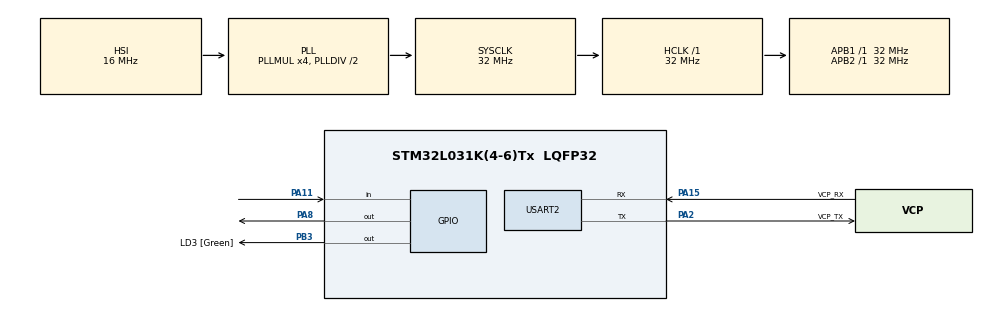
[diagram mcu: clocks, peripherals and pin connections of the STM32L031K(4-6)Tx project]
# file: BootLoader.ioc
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CRC.InputDataFormat=CRC_INPUTDATA_FORMAT_BYTES
Mcu.Family=STM32L0
Mcu.Name=STM32L031K(4-6)Tx
Mcu.Package=LQFP32
PA11.Signal=GPIO_Input
PA13.GPIO_Label=TMS
PA13.Mode=Serial_Wire
PA13.Signal=SYS_SWDIO
PA14.GPIO_Label=TCK
PA14.Mode=Serial_Wire
PA14.Signal=SYS_SWCLK
PA15.GPIO_Label=VCP_RX
PA15.Mode=Asynchronous
PA15.Signal=USART2_RX
PA2.GPIO_Label=VCP_TX
PA2.Mode=Asynchronous
PA2.Signal=USART2_TX
PA8.Signal=GPIO_Output
PB3.GPIO_Label=LD3 [Green]
PB3.Signal=GPIO_Output
PC14-OSC32_IN.Mode=LSE-External-Oscillator
PC14-OSC32_IN.Signal=RCC_OSC32_IN
PC15-OSC32_OUT.Mode=LSE-External-Oscillator
PC15-OSC32_OUT.Signal=RCC_OSC32_OUT
ProjectManager.HeapSize=0x200
ProjectManager.StackSize=0x400
ProjectManager.TargetToolchain=STM32CubeIDE
RCC.ADCFreq_Value=16000000
RCC.AHBFreq_Value=32000000
RCC.APB1Freq_Value=32000000
RCC.APB1TimFreq_Value=32000000
RCC.APB2Freq_Value=32000000
RCC.APB2TimFreq_Value=32000000
RCC.HCLKFreq_Value=32000000
RCC.HSE_VALUE=8000000
RCC.HSI16_VALUE=16000000
RCC.HSI48_VALUE=48000000
RCC.HSI_VALUE=16000000
RCC.MSI_VALUE=2097000
RCC.PLLMUL=RCC_PLLMUL_4
RCC.SYSCLKFreq_VALUE=32000000
RCC.SYSCLKSource=RCC_SYSCLKSOURCE_PLLCLK
RCC.VCOOutputFreq_Value=64000000
USART2.VirtualMode-Asynchronous=VM_ASYNC
VP_CRC_VS_CRC.Mode=CRC_Activate
board=NUCLEO-L031K6

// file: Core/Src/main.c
/* USER CODE BEGIN Header */
/**
  ******************************************************************************
  * @file           : main.c
  * @brief          : Main program body
  ******************************************************************************
  * @attention
  *
  * <h2><center>&copy; Copyright (c) 2020 STMicroelectronics.
  * All rights reserved.</center></h2>
  *
  * This software component is licensed by ST under BSD 3-Clause license,
  * the "License"; You may not use this file except in compliance with the
  * License. You may obtain a copy of the License at:
  *                        opensource.org/licenses/BSD-3-Clause
  *
  ******************************************************************************
  */
/* USER CODE END Header */

#include "main.h"
#include "crc.h"
#include "usart.h"
#include "gpio.h"

void SystemClock_Config(void);

/* USER CODE BEGIN 0 */

/* This Macro will mask last 4 bytes of the buffer(which is CRC)  */
#define MASK_CRC_BYTES(buf,len_of_buf) ((buf[len_of_buf-1]<<24)| \
						   (buf[len_of_buf-2]<<16)| \
						   (buf[len_of_buf-3]<<8)|  \
						   (buf[len_of_buf-4]))

/* This Macro will byte1 and byte2 in the buffer
 * which is length. byte0 is the command */
#define MASK_LEN_BYTES(buf) ((buf[2]<<8)| \
		   	   	   	   	   	 (buf[1]))

#define FLASH_APPL_START_ADDR 		0x08004000U
#define FLASH_APPL_PAGES			128   // each page is 128bytes

/* Commands Received from the SerialPort */
#define BL_GET_VER 			0xB1
#define BL_GET_CID 			0xB2
#define BL_ERASE_FLASH 		0xB3
#define BL_FLASH_APPL		0xB4
#define BL_INTEG_CHECK		0xB5
#define BL_JUMP_APPL		0xB6
#define	BL_TEST				0xB7

/* Each Command is followed by some other messages after acknowledgment
 * So with the command itself we receive the length. We will wait for this
 * length number of bytes from UART now */
#define BL_GET_VER_LEN 				5
#define BL_GET_CID_LEN 				5
#define BL_ERASE_FLASH_LEN 		 	5
#define BL_TEST_LEN					5
#define BL_RX_PACK_INFO_LEN			7

/* Acknowledgment sent back after executing commands */
#define BL_ACK				0xA5
#define BL_NACK 			0xA6
#define BL_ERASE_FLASH_SUCCESS		0xC1
#define BL_ERASE_FLASH_FAILURE		0xC2

/* Size of Each Binary packet shall be defined here and same in the sender
 * python script. Used to flash application */
#define BL_RX_BIN_PKT_SIZE			260

/* Standard definitions */
#define TRUE 				1
#define FALSE 				0

/* Global Variable Decleration*/
GPIO_PinState Jump_App = GPIO_PIN_RESET;	/* Jump to application when pin is set. read the code to understand */
HAL_StatusTypeDef status;					/* Status to return */
uint8_t uart_databuf[30];					/* Buffer for UART to receive data */
uint32_t received_crc 	= 0;				/* Holds Masked CRC */
uint32_t calculated_crc = 0;				/* Holds CRC calculated from internal CRC engine*/

/* Function Declerations*/
void Bootloader_jump_to_app(void);
void bootloader_uart_read_data(void);
uint8_t bootloader_verify_crc(uint8_t * uart_databuf, uint32_t length);
void bootloader_getcid(void);
void bootloader_getver(uint8_t * uart_databuf);
void bootloader_erase_appl_flash(uint8_t * uart_databuf);
void bootloader_flash_appl(uint8_t * uart_databuf);

/* USER CODE END 0 */

int main(void)
{

  /* MCU Configuration--------------------------------------------------------*/

  /* Reset of all peripherals, Initializes the Flash interface and the Systick. */
  HAL_Init();

  /* Configure the system clock */
  SystemClock_Config();

  /* Initialize all configured peripherals */
  MX_GPIO_Init();
  MX_USART2_UART_Init();
  MX_CRC_Init();
  /* USER CODE BEGIN 2 */
  HAL_GPIO_WritePin(GPIOA, GPIO_PIN_8, GPIO_PIN_SET); /* First we set the pin to high and check if still pin is high*/
  /* USER CODE END 2 */

  /* Infinite loop */
  while (1)
 {
	  Jump_App = HAL_GPIO_ReadPin(GPIOA, GPIO_PIN_11);
	  if(GPIO_PIN_SET == Jump_App)
	  {
		  /* to exit boot loader and jump to application GPIO_PIN_11 shall be connected to ground*/
		  Bootloader_jump_to_app();
		  break; /* application will never return here */
	  }
	  else
	  {
		  /* User Explicitly requested to stay in boot loader
		   * Just print and wait for command*/
		  HAL_UART_Transmit(&huart2, (uint8_t *)"In BootLoader\r\n", 15 , 300);
		  while(1){
		  	bootloader_uart_read_data();
		  }
	  }
 }
}

void SystemClock_Config(void)
{
  RCC_OscInitTypeDef RCC_OscInitStruct = {0};
  RCC_ClkInitTypeDef RCC_ClkInitStruct = {0};
  RCC_PeriphCLKInitTypeDef PeriphClkInit = {0};

  /** Configure the main internal regulator output voltage
  */
  __HAL_PWR_VOLTAGESCALING_CONFIG(PWR_REGULATOR_VOLTAGE_SCALE1);
  /** Initializes the CPU, AHB and APB busses clocks
  */
  RCC_OscInitStruct.OscillatorType = RCC_OSCILLATORTYPE_HSI;
  RCC_OscInitStruct.HSIState = RCC_HSI_ON;
  RCC_OscInitStruct.HSICalibrationValue = RCC_HSICALIBRATION_DEFAULT;
  RCC_OscInitStruct.PLL.PLLState = RCC_PLL_ON;
  RCC_OscInitStruct.PLL.PLLSource = RCC_PLLSOURCE_HSI;
  RCC_OscInitStruct.PLL.PLLMUL = RCC_PLLMUL_4;
  RCC_OscInitStruct.PLL.PLLDIV = RCC_PLLDIV_2;
  if (HAL_RCC_OscConfig(&RCC_OscInitStruct) != HAL_OK)
  {
    Error_Handler();
  }
  /** Initializes the CPU, AHB and APB busses clocks
  */
  RCC_ClkInitStruct.ClockType = RCC_CLOCKTYPE_HCLK|RCC_CLOCKTYPE_SYSCLK
                              |RCC_CLOCKTYPE_PCLK1|RCC_CLOCKTYPE_PCLK2;
  RCC_ClkInitStruct.SYSCLKSource = RCC_SYSCLKSOURCE_PLLCLK;
  RCC_ClkInitStruct.AHBCLKDivider = RCC_SYSCLK_DIV1;
  RCC_ClkInitStruct.APB1CLKDivider = RCC_HCLK_DIV1;
  RCC_ClkInitStruct.APB2CLKDivider = RCC_HCLK_DIV1;

  if (HAL_RCC_ClockConfig(&RCC_ClkInitStruct, FLASH_LATENCY_1) != HAL_OK)
  {
    Error_Handler();
  }
  PeriphClkInit.PeriphClockSelection = RCC_PERIPHCLK_USART2;
  PeriphClkInit.Usart2ClockSelection = RCC_USART2CLKSOURCE_PCLK1;
  if (HAL_RCCEx_PeriphCLKConfig(&PeriphClkInit) != HAL_OK)
  {
    Error_Handler();
  }
}

/* USER CODE BEGIN 4 */
void Bootloader_jump_to_app(void)
{
	uint32_t msp_value = *(uint32_t *) FLASH_APPL_START_ADDR ;
	//uint32_t reset_handler_addr = *(volatile uint32_t *) 0x08004004U ;
	void (*app_reset_handler)(void) = (void *) (*(volatile uint32_t *) (FLASH_APPL_START_ADDR + 4 ));

	HAL_UART_Transmit(&huart2, (uint8_t *)"Exiting BootLoader\r\n", 20 , 300);
	__set_MSP(msp_value);
	app_reset_handler();
}

/*  BRIEF\
 *  This Function reads data from UART and checks the command.
 *  Calls the respective interface to process accordingly
 *
 *	CALL FREQUENCY\
 *	Called in a while Loop
 *
 *	TODO
 *	BL_INTEG_CHECK has to be implemented
 *
 */
void bootloader_uart_read_data(void)
{
	uint8_t command  = 0;
	status = HAL_UART_Receive(&huart2,(uint8_t*) uart_databuf, 5, 5000);
	if (status == HAL_OK)
	{
		command = uart_databuf[0];
		switch(command)
		{
		case BL_GET_VER:
			bootloader_getver(uart_databuf);
			break;
		case BL_GET_CID:
			bootloader_getcid();
			break;
		case BL_ERASE_FLASH:
			bootloader_erase_appl_flash(uart_databuf);
			break;
		case BL_FLASH_APPL:
			bootloader_flash_appl(uart_databuf);
			break;
		case BL_JUMP_APPL:
			Bootloader_jump_to_app();
			break;
		default:
			HAL_UART_Transmit(&huart2,(uint8_t *) "Invalid Command\r\n", 17, HAL_MAX_DELAY);
		}
	}
	else
	{
		/* Do Nothing */
	}
}

/*  BRIEF\
 *  This Function is called when there is a request to flash the application
 *  process ->  send ACK if CRC is valid
 *          ->  Mask the length -  Number of upcoming packets in this connection
 *          ->  Unlock the flash memory first -  else we cannot write to pflash
 *          ->  Loop for masked length times and do the below
 *              ->  Receive Packet size
 *              ->  wait for the received size number of bytes from uart.
 *              ->  After the packet is received and CRC found valid
 *              	-> write the bytes to memory and return ACK
 *              ->  If data not received or CRC error return NACK
 *
 *
 *	CALL FREQUENCY\
 *	Called once BL_FLASH_APPL command is received
 *
 *	TODO
 *	Once the wrong CRC is received in b/w the communication then WHAT???
 *
 */
void bootloader_flash_appl(uint8_t * uart_databuf)
{
	uint8_t ack = BL_NACK;
	uint8_t bl_bin_pkt[260] = {0};
	uint32_t *flash_addr_appl_end=(uint32_t *)FLASH_APPL_START_ADDR;
	uint32_t opcode = 0;
	uint16_t app_max_num_pkts = 0;
	uint16_t app_current_pkt_len = 0;
	if(  bootloader_verify_crc(uart_databuf, BL_GET_VER_LEN)  )
	{
		ack = BL_ACK;
		HAL_UART_Transmit(&huart2,(uint8_t *) &ack, 1, 300);
		status = HAL_UART_Receive(&huart2,(uint8_t*) uart_databuf, BL_RX_PACK_INFO_LEN, HAL_MAX_DELAY);
		if(  bootloader_verify_crc(uart_databuf, BL_RX_PACK_INFO_LEN)  )
		{
			ack = BL_ACK;
			HAL_UART_Transmit(&huart2,(uint8_t *) &ack, 1, 300);
			app_max_num_pkts = MASK_LEN_BYTES(uart_databuf);
			HAL_GPIO_TogglePin(GPIOB, GPIO_PIN_3);
			HAL_FLASH_Unlock();
			for (uint16_t pkt_num = 0; pkt_num < app_max_num_pkts; pkt_num++)
			{
				status = HAL_UART_Receive(&huart2,(uint8_t*) uart_databuf, BL_RX_PACK_INFO_LEN, HAL_MAX_DELAY);
				if(  bootloader_verify_crc(uart_databuf, BL_RX_PACK_INFO_LEN)  )
				{
					ack = BL_ACK;
					HAL_UART_Transmit(&huart2,(uint8_t *) &ack, 1, 300);

					app_current_pkt_len = MASK_LEN_BYTES(uart_databuf);
					status = HAL_UART_Receive(&huart2,(uint8_t*) bl_bin_pkt, app_current_pkt_len, HAL_MAX_DELAY);
					if(  bootloader_verify_crc(bl_bin_pkt, app_current_pkt_len)  )
					{

						for (int i = 0; i < BL_RX_BIN_PKT_SIZE - 4; i+=4)
						{
							opcode = (bl_bin_pkt[i+3] << 24) | (bl_bin_pkt[i+2] << 16) | (bl_bin_pkt[i+1] << 8) | (bl_bin_pkt[i]);
							*flash_addr_appl_end = opcode;
							flash_addr_appl_end++;
						}

						ack = BL_ACK;
						HAL_UART_Transmit(&huart2,(uint8_t *) &ack, 1, 300);
					}
					else
					{
						ack = BL_NACK;
						HAL_UART_Transmit(&huart2,(uint8_t *) &ack, 1, 300);
					}
				}
				else
				{
					ack = BL_NACK;
					HAL_UART_Transmit(&huart2,(uint8_t *) &ack, 1, 300);
				}
			}
			HAL_GPIO_TogglePin(GPIOB, GPIO_PIN_3);
			HAL_FLASH_Lock();
		}
		else
		{
			/* Invalid CRC received for LEngth */
			ack = BL_NACK;
			HAL_UART_Transmit(&huart2,(uint8_t *) &ack, 1, 300);
		}
	}
	else
	{
		/* Invalid CRC received for the command */
		ack = BL_NACK;
		HAL_UART_Transmit(&huart2, &ack, 1, HAL_MAX_DELAY);
	}
}

/*  BRIEF\
 *  This Function erases the flash
 *  from FLASH_APPL_START_ADDR
 *  up to FLASH_APPL_PAGES
 *
 *
 *	CALL FREQUENCY\
 *	Called once BL_ERASE_FLASH command is received
 *
 *	TODO
 *	1. Configuration of page erase and size shall be taken through parameters
 *	2. HAL_MAX_DELAY is used while transmission
 *
 */
void bootloader_erase_appl_flash(uint8_t * uart_databuf)
{
	uint8_t ack = BL_NACK;
	uint8_t sts = BL_ERASE_FLASH_FAILURE;
	/* Proceed to erase only of CRC is Valid */
	if(  bootloader_verify_crc(uart_databuf, BL_GET_VER_LEN)  )
	{
		ack = BL_ACK;
		HAL_UART_Transmit(&huart2,(uint8_t *) &ack, 1, 300);		/*Send ACK first indicating erase started*/
		// code to erase application
		FLASH_EraseInitTypeDef pEraseInit;
		uint32_t PageError;
		/* Fill the structure pEraseInit with required data and then start*/
		pEraseInit.TypeErase 	= FLASH_TYPEERASE_PAGES;
		pEraseInit.PageAddress 	= FLASH_APPL_START_ADDR;
		pEraseInit.NbPages		= FLASH_APPL_PAGES;

		HAL_FLASH_Unlock();											/* Unlock the flash before erase */
		HAL_FLASHEx_Erase(&pEraseInit, &PageError);					/* Call HAL erase interface */
		HAL_FLASH_Lock();											/* Lock it again */
		if (PageError == 0xFFFFFFFF)
		{	/*0xFFFFFFFF indicates erase is successful*/
			sts = BL_ERASE_FLASH_SUCCESS;
		}
		HAL_UART_Transmit(&huart2,(uint8_t *) &sts, 1, 300);
	}
	else
	{
		HAL_UART_Transmit(&huart2, &ack, 1, HAL_MAX_DELAY);
	}
}

/*  BRIEF\
 *  This Function returns the version of current Bootloader
 *
 *
 *	CALL FREQUENCY\
 *	Called once BL_GET_VER command is received
 *
 *	TODO
 *	Version is currently in a Global variable
 *	Instead ensure version is always at a particular address
 *
 */
void bootloader_getver(uint8_t * uart_databuf)
{
	uint8_t bl_version = 0x10;
	uint8_t ack = BL_NACK;

	if(  bootloader_verify_crc(uart_databuf, BL_GET_VER_LEN)  )
	{
		ack = BL_ACK;
		HAL_UART_Transmit(&huart2,(uint8_t *) &ack, 1, 300);
		HAL_UART_Transmit(&huart2, &bl_version, 1, 300);
	}
	else
	{
		HAL_UART_Transmit(&huart2, &ack, 1, HAL_MAX_DELAY);
	}

}

/*  BRIEF\
 *  This Function returns the chip ID
 *
 *
 *	CALL FREQUENCY\
 *	Called once BL_GET_CID command is received
 *
 *	TODO
 *	Ensure the Chip ID is unique
 *
 */
void bootloader_getcid(void)
{
	uint32_t cid = 0;
	uint8_t ack = BL_NACK;
	if(  bootloader_verify_crc(uart_databuf, BL_GET_CID_LEN)  )
	{
		ack = BL_ACK;
		cid = DBGMCU->IDCODE;
		HAL_UART_Transmit(&huart2,(uint8_t *) &ack,  1, HAL_MAX_DELAY);
		HAL_UART_Transmit(&huart2,(uint8_t *) &cid , 4, HAL_MAX_DELAY);
	}
	else
	{
		HAL_UART_Transmit(&huart2, &ack, 1, HAL_MAX_DELAY);
	}
}

/*  BRIEF\
 *  This Function verifies the received CRC against Calculated CRC
 *
 *
 *	CALL FREQUENCY\
 *	Called for every UART receive
 *
 *	TODO
 *
 *
 */
uint8_t bootloader_verify_crc(uint8_t * uart_databuf, uint32_t length)
{
	received_crc 	= 0;
	// MASK the received CRC. RECEIVED DATA IS ALWAYS MSB FIRST
	received_crc = MASK_CRC_BYTES(uart_databuf,length);
	// Calculate CRC from existing Data
	calculated_crc  = HAL_CRC_Calculate(&hcrc,(uint32_t *) uart_databuf, (uint32_t)length-4);
	// Validate the received and calculated
	if(received_crc == calculated_crc)
	{
		return TRUE;
	}
	else
	{
		return FALSE;
	}
}

/* USER CODE END 4 */

void Error_Handler(void)
{
}

/************************ (C) COPYRIGHT STMicroelectronics *****END OF FILE****/
